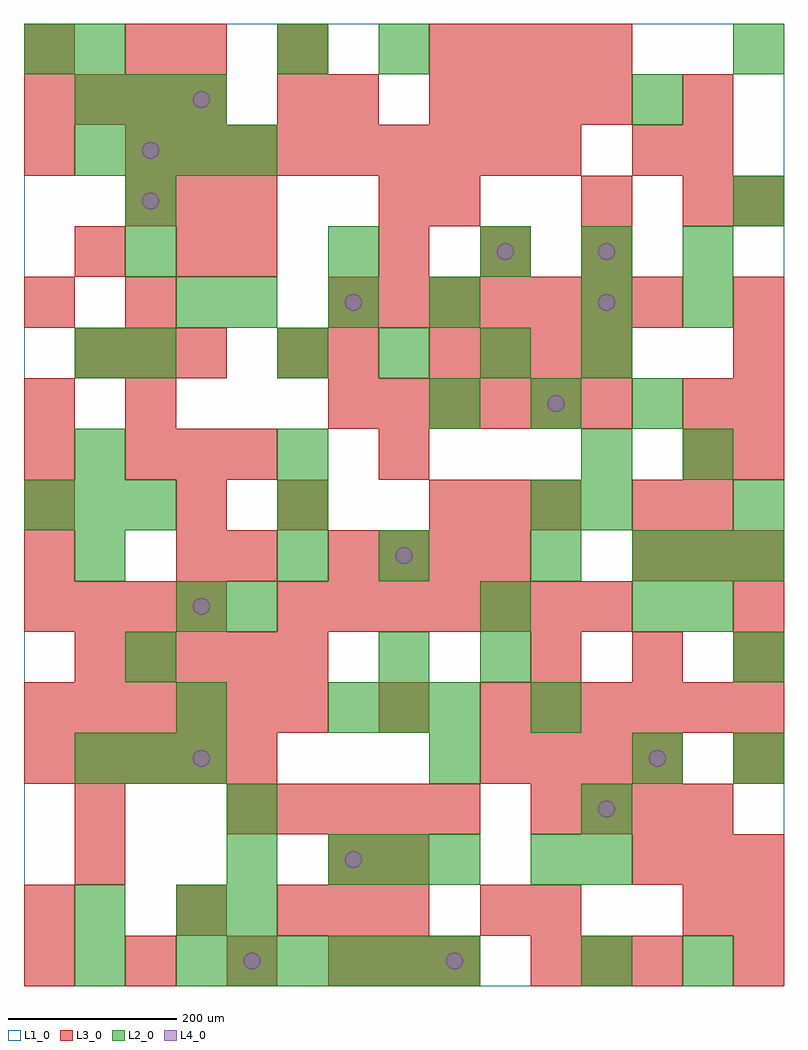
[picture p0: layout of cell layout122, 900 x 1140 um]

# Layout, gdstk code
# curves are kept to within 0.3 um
import gdstk
lib = gdstk.Library(unit=1e-6, precision=1e-09)
def R(c, l, rs):  # rectangles x0, y0, x1, y1
    for r in rs: c.add(gdstk.rectangle(r[:2], r[2:], *l))
def A(c, l, x, y, w, h, nx, ny, dx, dy):  # array of equal rectangles
    R(c, l, [(x+i*dx, y+j*dy, x+i*dx+w, y+j*dy+h) for i in range(nx) for j in range(ny)])
def P(c, l, *ps):  # polygons
    for p in ps: c.add(gdstk.Polygon(p, *l))
L1_0 = (1, 0)
L2_0 = (2, 0)
L3_0 = (3, 0)
L4_0 = (4, 0)

layout122 = lib.new_cell('layout122')
R(layout122, L1_0, [(0,0,900,1140)])
A(layout122, L2_0, 180, 0, 60, 60, 6, 1, 60, 0)
A(layout122, L2_0, 240, 60, 60, 60, 1, 3, 0, 60)
A(layout122, L2_0, 360, 120, 60, 60, 3, 2, 60, 180)
A(layout122, L2_0, 600, 120, 60, 60, 1, 3, 0, 180)
A(layout122, L2_0, 60, 240, 60, 60, 3, 2, 60, 780)
A(layout122, L2_0, 780, 420, 60, 60, 1, 3, 0, 180)
A(layout122, L2_0, 60, 480, 60, 60, 1, 3, 0, 120)
A(layout122, L2_0, 300, 480, 60, 60, 1, 3, 0, 60)
A(layout122, L2_0, 720, 480, 60, 60, 3, 1, 60, 0)
A(layout122, L2_0, 0, 540, 60, 60, 3, 1, 60, 0)
A(layout122, L2_0, 480, 660, 60, 60, 3, 1, 120, 0)
A(layout122, L2_0, 300, 720, 60, 60, 4, 1, 120, 0)
A(layout122, L2_0, 240, 780, 60, 60, 3, 1, 120, 0)
A(layout122, L2_0, 540, 840, 60, 60, 3, 1, 120, 0)
A(layout122, L2_0, 60, 960, 60, 60, 4, 1, 60, 0)
R(layout122, L2_0, [(60,0,120,60), (660,0,720,60), (780,0,840,60), (60,60,120,120), (180,60,240,120), (660,120,720,180), (660,180,720,240), (480,240,540,300), (720,240,780,300), (840,240,900,300), (180,300,240,360), (120,360,180,420), (420,360,480,420), (540,360,600,420), (840,360,900,420), (180,420,240,480), (240,420,300,480), (540,420,600,480), (720,420,780,480), (420,480,480,540), (600,540,660,600), (660,540,720,600), (840,540,900,600), (660,600,720,660), (120,720,180,780), (180,780,240,840), (660,780,720,840), (120,840,180,900), (360,840,420,900), (120,900,180,960), (840,900,900,960), (720,1020,780,1080), (0,1080,60,1140), (60,1080,120,1140), (300,1080,360,1140), (420,1080,480,1140), (840,1080,900,1140)])
A(layout122, L3_0, 0, 0, 60, 60, 4, 1, 120, 0)
A(layout122, L3_0, 600, 0, 60, 60, 3, 1, 60, 0)
A(layout122, L3_0, 300, 60, 60, 60, 3, 1, 60, 0)
A(layout122, L3_0, 840, 60, 60, 60, 1, 4, 0, 180)
A(layout122, L3_0, 720, 120, 60, 60, 3, 2, 60, 360)
A(layout122, L3_0, 240, 180, 60, 60, 5, 1, 60, 0)
A(layout122, L3_0, 600, 180, 60, 60, 4, 1, 60, 0)
A(layout122, L3_0, 0, 240, 60, 60, 5, 1, 60, 0)
A(layout122, L3_0, 540, 240, 60, 60, 4, 1, 60, 0)
A(layout122, L3_0, 0, 300, 60, 60, 6, 1, 60, 0)
A(layout122, L3_0, 420, 300, 60, 60, 1, 3, 0, 300)
A(layout122, L3_0, 540, 300, 60, 60, 6, 1, 60, 0)
A(layout122, L3_0, 60, 360, 60, 60, 5, 1, 60, 0)
A(layout122, L3_0, 600, 360, 60, 60, 3, 1, 120, 0)
A(layout122, L3_0, 0, 420, 60, 60, 4, 2, 60, 600)
A(layout122, L3_0, 300, 420, 60, 60, 7, 1, 60, 0)
A(layout122, L3_0, 0, 480, 60, 60, 1, 4, 0, 60)
A(layout122, L3_0, 360, 480, 60, 60, 4, 1, 60, 0)
A(layout122, L3_0, 480, 540, 60, 60, 3, 1, 60, 0)
A(layout122, L3_0, 780, 540, 60, 60, 1, 3, 0, 60)
A(layout122, L3_0, 120, 600, 60, 60, 3, 2, 60, 300)
A(layout122, L3_0, 360, 660, 60, 60, 6, 1, 60, 0)
A(layout122, L3_0, 840, 660, 60, 60, 1, 3, 0, 60)
A(layout122, L3_0, 60, 720, 60, 60, 3, 1, 60, 0)
A(layout122, L3_0, 480, 720, 60, 60, 4, 2, 60, 300)
A(layout122, L3_0, 360, 780, 60, 60, 7, 1, 60, 0)
A(layout122, L3_0, 420, 840, 60, 60, 3, 1, 120, 0)
A(layout122, L3_0, 780, 900, 60, 60, 1, 3, 0, 60)
A(layout122, L3_0, 120, 960, 60, 60, 9, 1, 60, 0)
A(layout122, L3_0, 480, 1080, 60, 60, 4, 1, 60, 0)
R(layout122, L3_0, [(420,0,480,60), (480,0,540,60), (840,0,900,60), (0,60,60,120), (180,60,240,120), (540,60,600,120), (600,60,660,120), (780,60,840,120), (60,120,120,180), (360,120,420,180), (420,120,480,180), (60,180,120,240), (180,480,240,540), (240,480,300,540), (180,540,240,600), (300,540,360,600), (720,540,780,600), (120,660,180,720), (300,720,360,780), (360,720,420,780), (0,780,60,840), (120,780,180,840), (60,840,120,900), (180,840,240,900), (240,840,300,900), (480,900,540,960), (660,900,720,960), (840,900,900,960), (0,960,60,1020), (720,960,780,1020), (300,1020,360,1080), (360,1020,420,1080), (0,1080,60,1140), (120,1080,180,1140), (180,1080,240,1140), (300,1080,360,1140)])
P(layout122, L4_0, [(160,930),(159.239,933.827),(157.071,937.071),(153.827,939.239),(150,940),(146.173,939.239),(142.929,937.071),(140.761,933.827),(140,930),(140.761,926.173),(142.929,922.929),(146.173,920.761),(150,920),(153.827,920.761),(157.071,922.929),(159.239,926.173)],
  [(160,990),(159.239,993.827),(157.071,997.071),(153.827,999.239),(150,1000),(146.173,999.239),(142.929,997.071),(140.761,993.827),(140,990),(140.761,986.173),(142.929,982.929),(146.173,980.761),(150,980),(153.827,980.761),(157.071,982.929),(159.239,986.173)],
  [(220,270),(219.239,273.827),(217.071,277.071),(213.827,279.239),(210,280),(206.173,279.239),(202.929,277.071),(200.761,273.827),(200,270),(200.761,266.173),(202.929,262.929),(206.173,260.761),(210,260),(213.827,260.761),(217.071,262.929),(219.239,266.173)],
  [(220,450),(219.239,453.827),(217.071,457.071),(213.827,459.239),(210,460),(206.173,459.239),(202.929,457.071),(200.761,453.827),(200,450),(200.761,446.173),(202.929,442.929),(206.173,440.761),(210,440),(213.827,440.761),(217.071,442.929),(219.239,446.173)],
  [(220,1050),(219.239,1053.827),(217.071,1057.071),(213.827,1059.239),(210,1060),(206.173,1059.239),(202.929,1057.071),(200.761,1053.827),(200,1050),(200.761,1046.173),(202.929,1042.929),(206.173,1040.761),(210,1040),(213.827,1040.761),(217.071,1042.929),(219.239,1046.173)],
  [(280,30),(279.239,33.827),(277.071,37.071),(273.827,39.239),(270,40),(266.173,39.239),(262.929,37.071),(260.761,33.827),(260,30),(260.761,26.173),(262.929,22.929),(266.173,20.761),(270,20),(273.827,20.761),(277.071,22.929),(279.239,26.173)],
  [(400,150),(399.239,153.827),(397.071,157.071),(393.827,159.239),(390,160),(386.173,159.239),(382.929,157.071),(380.761,153.827),(380,150),(380.761,146.173),(382.929,142.929),(386.173,140.761),(390,140),(393.827,140.761),(397.071,142.929),(399.239,146.173)],
  [(400,810),(399.239,813.827),(397.071,817.071),(393.827,819.239),(390,820),(386.173,819.239),(382.929,817.071),(380.761,813.827),(380,810),(380.761,806.173),(382.929,802.929),(386.173,800.761),(390,800),(393.827,800.761),(397.071,802.929),(399.239,806.173)],
  [(460,510),(459.239,513.827),(457.071,517.071),(453.827,519.239),(450,520),(446.173,519.239),(442.929,517.071),(440.761,513.827),(440,510),(440.761,506.173),(442.929,502.929),(446.173,500.761),(450,500),(453.827,500.761),(457.071,502.929),(459.239,506.173)],
  [(520,30),(519.239,33.827),(517.071,37.071),(513.827,39.239),(510,40),(506.173,39.239),(502.929,37.071),(500.761,33.827),(500,30),(500.761,26.173),(502.929,22.929),(506.173,20.761),(510,20),(513.827,20.761),(517.071,22.929),(519.239,26.173)],
  [(580,870),(579.239,873.827),(577.071,877.071),(573.827,879.239),(570,880),(566.173,879.239),(562.929,877.071),(560.761,873.827),(560,870),(560.761,866.173),(562.929,862.929),(566.173,860.761),(570,860),(573.827,860.761),(577.071,862.929),(579.239,866.173)],
  [(640,690),(639.239,693.827),(637.071,697.071),(633.827,699.239),(630,700),(626.173,699.239),(622.929,697.071),(620.761,693.827),(620,690),(620.761,686.173),(622.929,682.929),(626.173,680.761),(630,680),(633.827,680.761),(637.071,682.929),(639.239,686.173)],
  [(700,210),(699.239,213.827),(697.071,217.071),(693.827,219.239),(690,220),(686.173,219.239),(682.929,217.071),(680.761,213.827),(680,210),(680.761,206.173),(682.929,202.929),(686.173,200.761),(690,200),(693.827,200.761),(697.071,202.929),(699.239,206.173)],
  [(700,810),(699.239,813.827),(697.071,817.071),(693.827,819.239),(690,820),(686.173,819.239),(682.929,817.071),(680.761,813.827),(680,810),(680.761,806.173),(682.929,802.929),(686.173,800.761),(690,800),(693.827,800.761),(697.071,802.929),(699.239,806.173)],
  [(700,870),(699.239,873.827),(697.071,877.071),(693.827,879.239),(690,880),(686.173,879.239),(682.929,877.071),(680.761,873.827),(680,870),(680.761,866.173),(682.929,862.929),(686.173,860.761),(690,860),(693.827,860.761),(697.071,862.929),(699.239,866.173)],
  [(760,270),(759.239,273.827),(757.071,277.071),(753.827,279.239),(750,280),(746.173,279.239),(742.929,277.071),(740.761,273.827),(740,270),(740.761,266.173),(742.929,262.929),(746.173,260.761),(750,260),(753.827,260.761),(757.071,262.929),(759.239,266.173)])

lib.write_gds('layout122.gds')
